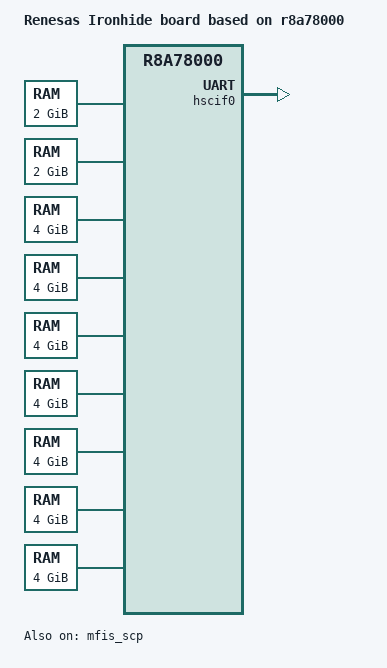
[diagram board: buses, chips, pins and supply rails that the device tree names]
// SPDX-License-Identifier: (GPL-2.0-only OR BSD-2-Clause)
/*
 * Device Tree Source for the Ironhide board
 *
 * Copyright (C) 2025 Renesas Electronics Corp.
 */

/dts-v1/;
#include <dt-bindings/soc/renesas,r8a78000-mfis.h>
#include "r8a78000.dtsi"

/ {
	model = "Renesas Ironhide board based on r8a78000";
	compatible = "renesas,ironhide", "renesas,r8a78000";

	aliases {
		serial0 = &hscif0;
	};

	chosen {
		stdout-path = "serial0:1843200n8";
	};

	firmware {
		scmi: scmi {
			compatible = "arm,scmi";
			mboxes = <&mfis_scp 2 MFIS_CHANNEL_TX>,
				 <&mfis_scp 2 MFIS_CHANNEL_RX>;
			mbox-names = "tx", "rx";
			shmem = <&scmi_tx_shmem>, <&scmi_rx_shmem>;
			arm,no-completion-irq;
			#address-cells = <1>;
			#size-cells = <0>;
		};
	};

	memory@40000000 {
		device_type = "memory";
		reg = <0x0 0x40000000 0x0 0x80000000>;
	};

	memory@1080000000 {
		device_type = "memory";
		reg = <0x10 0x80000000 0x0 0x80000000>;
	};

	memory@1200000000 {
		device_type = "memory";
		reg = <0x12 0x00000000 0x1 0x00000000>;
	};

	memory@1400000000 {
		device_type = "memory";
		reg = <0x14 0x00000000 0x1 0x00000000>;
	};

	memory@1600000000 {
		device_type = "memory";
		reg = <0x16 0x00000000 0x1 0x00000000>;
	};

	memory@1800000000 {
		device_type = "memory";
		reg = <0x18 0x00000000 0x1 0x00000000>;
	};

	memory@1a00000000 {
		device_type = "memory";
		reg = <0x1a 0x00000000 0x1 0x00000000>;
	};

	memory@1c00000000 {
		device_type = "memory";
		reg = <0x1c 0x00000000 0x1 0x00000000>;
	};

	memory@1e00000000 {
		device_type = "memory";
		reg = <0x1e 0x00000000 0x1 0x00000000>;
	};

	reserved-memory {
		#address-cells = <2>;
		#size-cells = <2>;
		ranges;

		/* First 518 MiB is reserved for other purposes. */
		firmware@40000000 {
			reg = <0x0 0x40000000 0x0 0x20600000>;
			no-map;
		};

		/* Parameters set by IPL. */
		parameters@8c100000 {
			reg = <0x0 0x8c100000 0x0 0x00008000>;
			no-map;
		};

		/* TFA BL31. */
		tfa-bl31@8c200000 {
			reg = <0x0 0x8c200000 0x0 0x00080000>;
			no-map;
		};

		/* TEE TZ DRAM. */
		tee@8c400000 {
			reg = <0x0 0x8c400000 0x0 0x02000000>;
			no-map;
		};
	};
};

&extal_clk {
	clock-frequency = <16666600>;
};

&extalr_clk {
	clock-frequency = <32768>;
};

&hscif0 {
	uart-has-rtscts;
	status = "okay";
};

&mfis_scp {
	status = "okay";
};

&scif_clk {
	clock-frequency = <26000000>;
};

&stcm_transport {
	scmi_tx_shmem: sram@1200 {
		compatible = "arm,scmi-shmem";
		reg = <0x1200 0x0100>;
	};

	scmi_rx_shmem: sram@1300 {
		compatible = "arm,scmi-shmem";
		reg = <0x1300 0x100>;
	};
};
